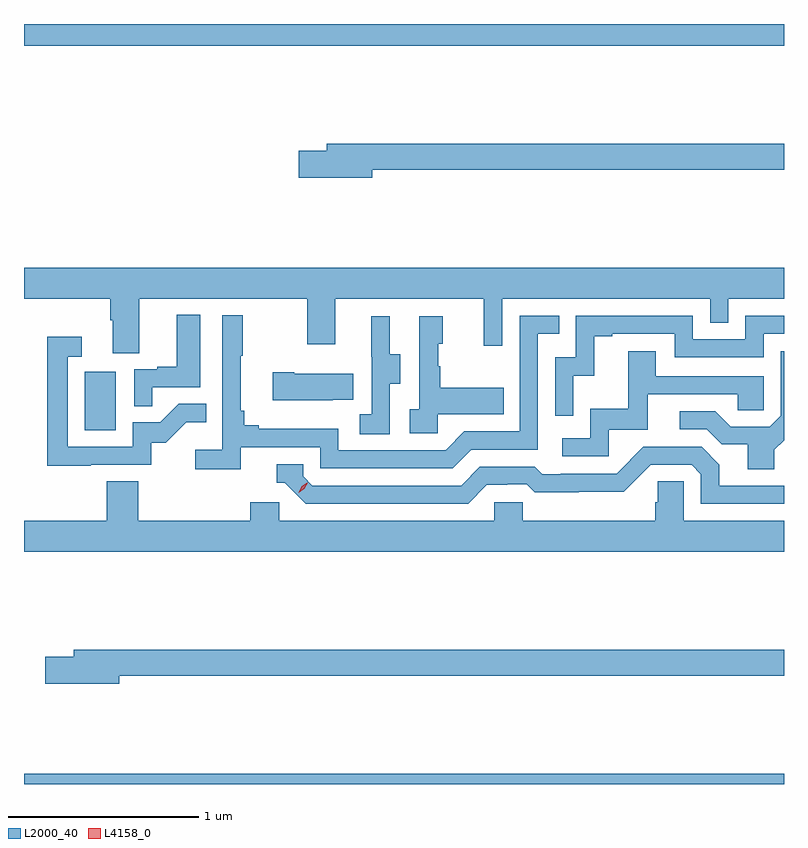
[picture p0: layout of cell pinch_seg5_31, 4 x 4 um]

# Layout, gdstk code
import gdstk
lib = gdstk.Library(unit=1e-6, precision=1e-09)
def R(c, l, rs):  # rectangles x0, y0, x1, y1
    for r in rs: c.add(gdstk.rectangle(r[:2], r[2:], *l))
def P(c, l, *ps):  # polygons
    for p in ps: c.add(gdstk.Polygon(p, *l))
L2000_40 = (2000, 40)
L4158_0 = (4158, 0)

pinch_seg5_31 = lib.new_cell('pinch_seg5_31')
R(pinch_seg5_31, L2000_40, [(1089.631,910.15,1093.631,910.204), (1089.95,912.012,1090.114,912.319), (1089.631,914.036,1093.631,914.15)])
P(pinch_seg5_31, L2000_40, [(1091.464,913.384),(1093.631,913.384),(1093.631,913.52),(1091.225,913.52),(1091.225,913.484),(1091.076,913.484),(1091.076,913.342),(1091.464,913.342)],
  [(1090.237,912.704),(1091.122,912.704),(1091.122,912.465),(1091.269,912.465),(1091.269,912.704),(1092.05,912.704),(1092.05,912.456),(1092.147,912.456),(1092.147,912.704),(1093.242,912.704),(1093.242,912.577),(1093.338,912.577),(1093.338,912.704),(1093.631,912.704),(1093.631,912.868),(1089.631,912.868),(1089.631,912.704),(1090.085,912.704),(1090.085,912.592),(1090.097,912.592),(1090.097,912.418),(1090.237,912.418)],
  [(1090.307,912.237),(1090.558,912.237),(1090.558,912.619),(1090.436,912.619),(1090.436,912.346),(1090.333,912.346),(1090.333,912.333),(1090.212,912.333),(1090.212,912.139),(1090.307,912.139)],
  [(1090.772,911.922),(1091.19,911.922),(1091.19,911.811),(1091.887,911.811),(1091.986,911.91),(1092.336,911.91),(1092.336,912.519),(1092.449,912.519),(1092.449,912.615),(1092.24,912.615),(1092.24,912.006),(1091.949,912.006),(1091.85,911.907),(1091.286,911.907),(1091.286,912.019),(1090.867,912.019),(1090.867,912.038),(1090.79,912.038),(1090.79,912.115),(1090.771,912.115),(1090.771,912.403),(1090.783,912.403),(1090.783,912.616),(1090.674,912.616),(1090.674,911.908),(1090.533,911.908),(1090.533,911.806),(1090.772,911.806)],
  [(1092.522,912.299),(1092.632,912.299),(1092.632,912.507),(1092.727,912.507),(1092.727,912.519),(1093.056,912.519),(1093.056,912.396),(1093.524,912.396),(1093.524,912.519),(1093.631,912.519),(1093.631,912.615),(1093.428,912.615),(1093.428,912.492),(1093.152,912.492),(1093.152,912.615),(1092.534,912.615),(1092.534,912.396),(1092.426,912.396),(1092.426,912.087),(1092.522,912.087)],
  [(1091.808,912.095),(1092.155,912.095),(1092.155,912.235),(1091.821,912.235),(1091.821,912.35),(1091.811,912.35),(1091.811,912.468),(1091.836,912.468),(1091.836,912.613),(1091.712,912.613),(1091.712,912.122),(1091.661,912.122),(1091.661,911.997),(1091.808,911.997)],
  [(1091.556,912.256),(1091.611,912.256),(1091.611,912.411),(1091.557,912.411),(1091.557,912.613),(1091.459,912.613),(1091.459,912.399),(1091.46,912.399),(1091.46,912.095),(1091.397,912.095),(1091.397,911.992),(1091.556,911.992)],
  [(1089.983,911.829),(1090.302,911.829),(1090.302,911.946),(1090.378,911.946),(1090.485,912.053),(1090.589,912.053),(1090.589,912.152),(1090.446,912.152),(1090.348,912.054),(1090.203,912.054),(1090.203,911.925),(1089.861,911.925),(1089.861,912.399),(1089.934,912.399),(1089.934,912.505),(1089.753,912.505),(1089.753,911.824),(1089.983,911.824)],
  [(1093.579,911.908),(1093.631,911.96),(1093.631,912.427),(1093.614,912.427),(1093.614,912.087),(1093.557,912.03),(1093.351,912.03),(1093.27,912.111),(1093.083,912.111),(1093.083,912.018),(1093.224,912.018),(1093.304,911.938),(1093.439,911.938),(1093.439,911.806),(1093.579,911.806)],
  [(1092.708,912.015),(1092.913,912.015),(1092.913,912.201),(1093.387,912.201),(1093.387,912.117),(1093.524,912.117),(1093.524,912.297),(1092.955,912.297),(1092.955,912.427),(1092.811,912.427),(1092.811,912.124),(1092.612,912.124),(1092.612,911.97),(1092.465,911.97),(1092.465,911.874),(1092.708,911.874)],
  [(1091.255,912.173),(1091.363,912.173),(1091.363,912.31),(1091.053,912.31),(1091.053,912.318),(1090.941,912.318),(1090.941,912.17),(1091.255,912.17)],
  [(1092.067,911.724),(1092.174,911.724),(1092.174,911.727),(1092.277,911.727),(1092.319,911.685),(1092.552,911.685),(1092.552,911.687),(1092.788,911.687),(1092.93,911.829),(1093.146,911.829),(1093.194,911.781),(1093.194,911.625),(1093.631,911.625),(1093.631,911.721),(1093.291,911.721),(1093.291,911.831),(1093.197,911.925),(1092.891,911.925),(1092.75,911.784),(1092.457,911.784),(1092.457,911.781),(1092.358,911.781),(1092.319,911.82),(1092.03,911.82),(1091.931,911.721),(1091.148,911.721),(1091.1,911.769),(1091.1,911.832),(1090.961,911.832),(1090.961,911.736),(1091.004,911.736),(1091.115,911.625),(1091.968,911.625)],
  [(1093.631,911.536),(1093.104,911.536),(1093.104,911.744),(1092.967,911.744),(1092.967,911.634),(1092.953,911.634),(1092.953,911.536),(1092.255,911.536),(1092.255,911.634),(1092.105,911.634),(1092.105,911.536),(1090.974,911.536),(1090.974,911.634),(1090.823,911.634),(1090.823,911.536),(1090.232,911.536),(1090.232,911.744),(1090.067,911.744),(1090.067,911.536),(1089.631,911.536),(1089.631,911.372),(1093.631,911.372)],
  [(1090.132,910.72),(1093.631,910.72),(1093.631,910.856),(1089.893,910.856),(1089.893,910.82),(1089.744,910.82),(1089.744,910.678),(1090.132,910.678)])
P(pinch_seg5_31, L4158_0, [(1091.076,911.683),(1091.076,911.683),(1091.092,911.716),(1091.123,911.736),(1091.124,911.736),(1091.124,911.735),(1091.107,911.703),(1091.076,911.683)])

lib.write_gds('pinch_seg5_31.gds')
